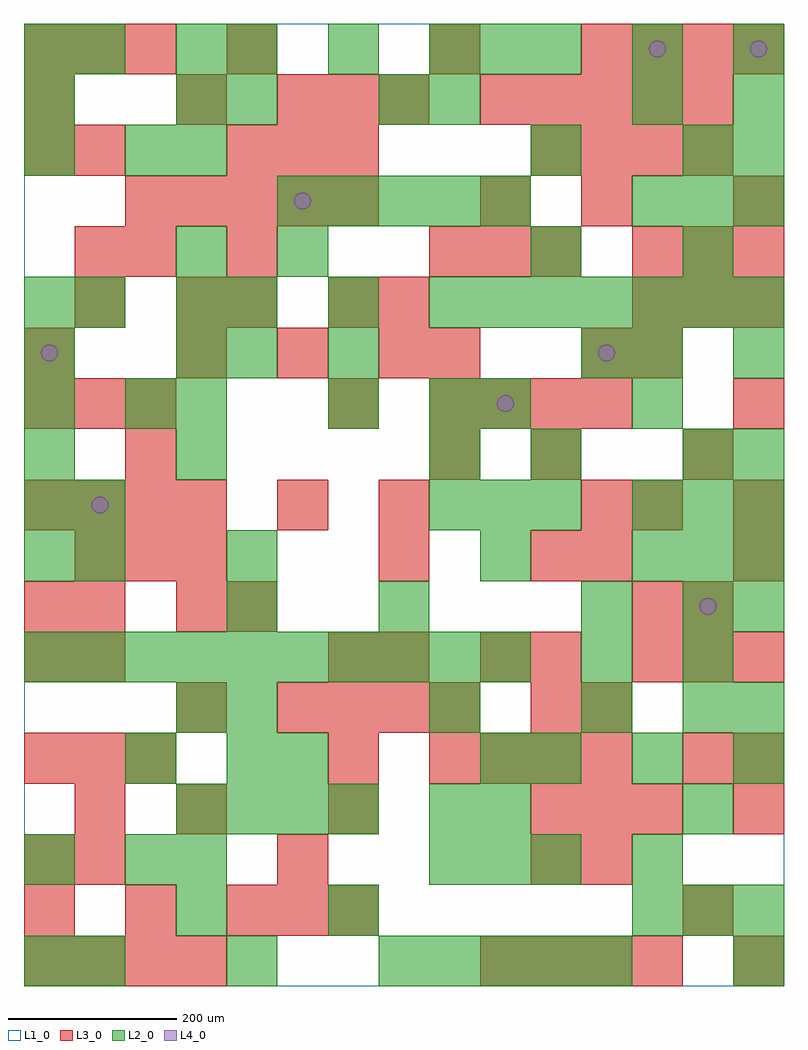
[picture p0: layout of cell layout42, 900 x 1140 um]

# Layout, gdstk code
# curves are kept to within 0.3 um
import gdstk
lib = gdstk.Library(unit=1e-6, precision=1e-09)
def R(c, l, rs):  # rectangles x0, y0, x1, y1
    for r in rs: c.add(gdstk.rectangle(r[:2], r[2:], *l))
def A(c, l, x, y, w, h, nx, ny, dx, dy):  # array of equal rectangles
    R(c, l, [(x+i*dx, y+j*dy, x+i*dx+w, y+j*dy+h) for i in range(nx) for j in range(ny)])
def P(c, l, *ps):  # polygons
    for p in ps: c.add(gdstk.Polygon(p, *l))
L1_0 = (1, 0)
L2_0 = (2, 0)
L3_0 = (3, 0)
L4_0 = (4, 0)

layout42 = lib.new_cell('layout42')
R(layout42, L1_0, [(0,0,900,1140)])
A(layout42, L2_0, 60, 0, 60, 60, 3, 1, 180, 0)
A(layout42, L2_0, 480, 0, 60, 60, 4, 1, 60, 0)
A(layout42, L2_0, 720, 60, 60, 60, 3, 2, 60, 420)
A(layout42, L2_0, 480, 120, 60, 60, 3, 2, 60, 420)
A(layout42, L2_0, 180, 180, 60, 60, 4, 1, 60, 0)
A(layout42, L2_0, 600, 240, 60, 60, 3, 2, 120, 840)
A(layout42, L2_0, 660, 300, 60, 60, 1, 3, 0, 60)
A(layout42, L2_0, 780, 300, 60, 60, 1, 3, 0, 60)
A(layout42, L2_0, 0, 360, 60, 60, 10, 1, 60, 0)
A(layout42, L2_0, 0, 480, 60, 60, 1, 6, 0, 60)
A(layout42, L2_0, 720, 540, 60, 60, 3, 2, 60, 360)
A(layout42, L2_0, 180, 600, 60, 60, 1, 5, 0, 60)
A(layout42, L2_0, 240, 780, 60, 60, 3, 2, 120, 300)
A(layout42, L2_0, 540, 780, 60, 60, 6, 1, 60, 0)
A(layout42, L2_0, 300, 900, 60, 60, 5, 1, 60, 0)
A(layout42, L2_0, 0, 960, 60, 60, 1, 3, 0, 60)
A(layout42, L2_0, 180, 960, 60, 60, 1, 3, 0, 60)
R(layout42, L2_0, [(0,0,60,60), (840,0,900,60), (180,60,240,120), (360,60,420,120), (0,120,60,180), (120,120,180,180), (180,120,240,180), (720,120,780,180), (480,180,540,240), (540,180,600,240), (780,180,840,240), (120,240,180,300), (240,240,300,300), (300,240,360,300), (540,240,600,300), (180,300,240,360), (240,300,300,360), (480,300,540,360), (840,300,900,360), (240,420,300,480), (420,420,480,480), (840,420,900,480), (60,480,120,540), (240,480,300,540), (540,480,600,540), (60,540,120,600), (480,600,540,660), (600,600,660,660), (780,600,840,660), (840,600,900,660), (120,660,180,720), (360,660,420,720), (480,660,540,720), (540,660,600,720), (720,660,780,720), (240,720,300,780), (360,720,420,780), (660,720,720,780), (720,720,780,780), (840,720,900,780), (60,780,120,840), (300,840,360,900), (600,840,660,900), (780,840,840,900), (120,960,180,1020), (600,960,660,1020), (780,960,840,1020), (840,960,900,1020), (240,1020,300,1080), (420,1020,480,1080), (480,1020,540,1080), (720,1020,780,1080), (840,1020,900,1080), (60,1080,120,1140), (540,1080,600,1140)])
A(layout42, L3_0, 0, 0, 60, 60, 4, 2, 60, 540)
A(layout42, L3_0, 540, 0, 60, 60, 4, 1, 60, 0)
A(layout42, L3_0, 0, 60, 60, 60, 3, 1, 120, 0)
A(layout42, L3_0, 780, 60, 60, 60, 1, 4, 0, 180)
A(layout42, L3_0, 660, 120, 60, 60, 1, 3, 0, 180)
A(layout42, L3_0, 180, 180, 60, 60, 1, 3, 0, 120)
A(layout42, L3_0, 600, 180, 60, 60, 3, 1, 60, 0)
A(layout42, L3_0, 0, 240, 60, 60, 3, 3, 60, 420)
A(layout42, L3_0, 480, 240, 60, 60, 4, 2, 60, 420)
A(layout42, L3_0, 300, 300, 60, 60, 4, 1, 60, 0)
A(layout42, L3_0, 600, 360, 60, 60, 1, 3, 0, 120)
A(layout42, L3_0, 720, 360, 60, 60, 3, 2, 60, 420)
A(layout42, L3_0, 60, 480, 60, 60, 3, 1, 60, 0)
A(layout42, L3_0, 660, 540, 60, 60, 1, 3, 0, 180)
A(layout42, L3_0, 180, 720, 60, 60, 3, 1, 120, 0)
A(layout42, L3_0, 480, 840, 60, 60, 3, 1, 60, 0)
A(layout42, L3_0, 720, 840, 60, 60, 3, 1, 60, 0)
A(layout42, L3_0, 120, 900, 60, 60, 5, 1, 60, 0)
A(layout42, L3_0, 240, 960, 60, 60, 3, 1, 60, 0)
A(layout42, L3_0, 600, 960, 60, 60, 4, 1, 60, 0)
A(layout42, L3_0, 300, 1020, 60, 60, 3, 1, 60, 0)
A(layout42, L3_0, 540, 1020, 60, 60, 5, 1, 60, 0)
A(layout42, L3_0, 660, 1080, 60, 60, 4, 1, 60, 0)
R(layout42, L3_0, [(840,0,900,60), (300,60,360,120), (360,60,420,120), (0,120,60,180), (60,120,120,180), (300,120,360,180), (600,120,660,180), (60,180,120,240), (360,180,420,240), (840,180,900,240), (360,240,420,300), (840,240,900,300), (600,300,660,360), (0,360,60,420), (60,360,120,420), (360,360,420,420), (420,360,480,420), (540,360,600,420), (0,420,60,480), (60,420,120,480), (240,420,300,480), (720,420,780,480), (420,480,480,540), (840,480,900,540), (300,540,360,600), (420,540,480,600), (720,540,780,600), (840,540,900,600), (120,600,180,660), (480,600,540,660), (360,660,420,720), (840,660,900,720), (0,720,60,780), (480,720,540,780), (720,720,780,780), (60,780,120,840), (180,780,240,840), (240,780,300,840), (360,780,420,840), (420,780,480,840), (60,840,120,900), (120,840,180,900), (240,840,300,900), (540,900,600,960), (840,900,900,960), (0,960,60,1020), (60,960,120,1020), (0,1020,60,1080), (180,1020,240,1080), (240,1080,300,1140), (480,1080,540,1140)])
P(layout42, L4_0, [(40,750),(39.239,753.827),(37.071,757.071),(33.827,759.239),(30,760),(26.173,759.239),(22.929,757.071),(20.761,753.827),(20,750),(20.761,746.173),(22.929,742.929),(26.173,740.761),(30,740),(33.827,740.761),(37.071,742.929),(39.239,746.173)],
  [(100,570),(99.239,573.827),(97.071,577.071),(93.827,579.239),(90,580),(86.173,579.239),(82.929,577.071),(80.761,573.827),(80,570),(80.761,566.173),(82.929,562.929),(86.173,560.761),(90,560),(93.827,560.761),(97.071,562.929),(99.239,566.173)],
  [(340,930),(339.239,933.827),(337.071,937.071),(333.827,939.239),(330,940),(326.173,939.239),(322.929,937.071),(320.761,933.827),(320,930),(320.761,926.173),(322.929,922.929),(326.173,920.761),(330,920),(333.827,920.761),(337.071,922.929),(339.239,926.173)],
  [(580,690),(579.239,693.827),(577.071,697.071),(573.827,699.239),(570,700),(566.173,699.239),(562.929,697.071),(560.761,693.827),(560,690),(560.761,686.173),(562.929,682.929),(566.173,680.761),(570,680),(573.827,680.761),(577.071,682.929),(579.239,686.173)],
  [(700,750),(699.239,753.827),(697.071,757.071),(693.827,759.239),(690,760),(686.173,759.239),(682.929,757.071),(680.761,753.827),(680,750),(680.761,746.173),(682.929,742.929),(686.173,740.761),(690,740),(693.827,740.761),(697.071,742.929),(699.239,746.173)],
  [(760,1110),(759.239,1113.827),(757.071,1117.071),(753.827,1119.239),(750,1120),(746.173,1119.239),(742.929,1117.071),(740.761,1113.827),(740,1110),(740.761,1106.173),(742.929,1102.929),(746.173,1100.761),(750,1100),(753.827,1100.761),(757.071,1102.929),(759.239,1106.173)],
  [(820,450),(819.239,453.827),(817.071,457.071),(813.827,459.239),(810,460),(806.173,459.239),(802.929,457.071),(800.761,453.827),(800,450),(800.761,446.173),(802.929,442.929),(806.173,440.761),(810,440),(813.827,440.761),(817.071,442.929),(819.239,446.173)],
  [(880,1110),(879.239,1113.827),(877.071,1117.071),(873.827,1119.239),(870,1120),(866.173,1119.239),(862.929,1117.071),(860.761,1113.827),(860,1110),(860.761,1106.173),(862.929,1102.929),(866.173,1100.761),(870,1100),(873.827,1100.761),(877.071,1102.929),(879.239,1106.173)])

lib.write_gds('layout42.gds')
